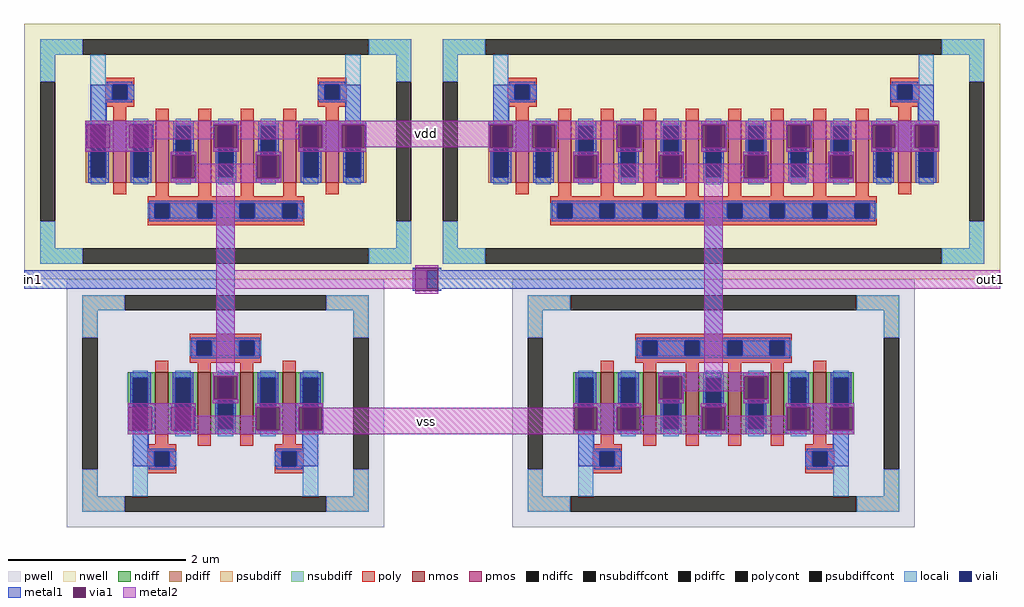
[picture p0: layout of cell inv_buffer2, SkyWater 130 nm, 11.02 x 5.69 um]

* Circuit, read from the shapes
.subckt inv_buffer2 in1 out1 vdd vss
XM1 vss vss vss vss sky130_fd_pr__nfet_01v8 w=0.7 l=0.15 m=4
XM2 inv_simple1_0/out in1 vss vss sky130_fd_pr__nfet_01v8 w=0.7 l=0.15 m=2
XM3 out1 inv_simple1_0/out vss vss sky130_fd_pr__nfet_01v8 w=0.7 l=0.15 m=4
XM4 vdd vdd vdd vdd sky130_fd_pr__pfet_01v8 w=0.7 l=0.15 m=4
XM5 inv_simple1_0/out in1 vdd vdd sky130_fd_pr__pfet_01v8 w=0.7 l=0.15 m=4
XM6 out1 inv_simple1_0/out vdd vdd sky130_fd_pr__pfet_01v8 w=0.7 l=0.15 m=8
.ends

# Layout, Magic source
magic
tech sky130A
magscale 1 2
<< metal1 >>
rect 0 539 42 581
rect 878 534 884 586
rect 936 534 942 586
<< via1 >>
rect 884 534 936 586
<< metal2 >>
rect 772 859 1049 919
rect 884 586 936 592
rect 878 539 884 581
rect 2162 539 2204 581
rect 884 528 936 534
rect 676 210 1240 270
use inv_simple1  inv_simple1_0
transform 1 0 53 0 1 613
box -53 -613 858 525
use inv_simple2  inv_simple2_0
transform 1 0 952 0 1 613
box -42 -613 1252 525
<< labels >>
rlabel metal1 0 539 42 581 0 in1
port 1 n
rlabel metal2 2162 539 2204 581 0 out1
port 2 n
rlabel metal2 880 859 940 919 0 vdd
port 3 n
rlabel metal2 880 210 940 270 1 vss
port 4 n
<< end >>

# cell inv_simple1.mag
magic
tech sky130A
magscale 1 2
<< locali >>
rect 97 306 131 455
rect 673 306 707 455
rect 193 -543 227 -403
rect 577 -543 611 -403
<< metal1 >>
rect 381 -32 423 79
rect -53 -74 423 -32
rect 381 -185 423 -74
<< metal2 >>
rect 85 236 239 306
rect 381 -32 423 166
rect 381 -74 857 -32
rect 381 -263 423 -74
rect 181 -403 335 -333
use sinv_n  sinv_n_0
transform 1 0 402 0 1 -333
box -359 -280 359 280
use sinv_p  sinv_p_0
transform 1 0 403 0 1 236
box -455 -289 455 289
<< labels >>
rlabel metal1 -53 -74 -11 -32 0 in
port 1 n
rlabel metal2 815 -74 857 -32 6 out
port 5 n
rlabel metal2 85 236 239 306 1 vdd
port 6 n
rlabel metal2 181 -403 335 -333 0 vss
port 4 n
<< end >>

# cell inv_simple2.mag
magic
tech sky130A
magscale 1 2
<< locali >>
rect 108 306 142 455
rect 1068 306 1102 455
rect 300 -543 334 -403
rect 876 -543 910 -403
<< metal1 >>
rect 584 -32 626 85
rect -42 -74 626 -32
rect 584 -191 626 -74
<< metal2 >>
rect 584 -32 626 166
rect 584 -74 1252 -32
rect 584 -263 626 -74
use sinv2_n  sinv2_n_0
transform 1 0 605 0 1 -333
box -455 -280 455 280
use sinv2_p  sinv2_p_0
transform 1 0 605 0 1 236
box -647 -289 647 289
<< end >>

# cell sinv2_n: kit device sky130_fd_pr__nfet_01v8, w 0.7 l 0.150 m 1 nf 6 diffcov 100 polycov 100 guard 1 glc 1 grc 1 gtc 1 gbc 1 tbcov 100 rlcov 100 topc 1 botc 1 poverlap 0 doverlap 1 lmin 0.15 wmin 0.42 compatible {sky130_fd_pr__nfet_01v8 sky130_fd_pr__nfet_01v8_lvt sky130_fd_bs_flash__special_sonosfet_star sky130_fd_pr__nfet_g5v0d10v5 sky130_fd_pr__nfet_05v0_nvt sky130_fd_pr__nfet_03v3_nvt} full_metal 1 viasrc 100 viadrn 100 viagate 100 viagb 0 viagr 0 viagl 0 viagt 0

# cell sinv2_p: kit device sky130_fd_pr__pfet_01v8, w 0.7 l 0.15 m 1 nf 10 diffcov 100 polycov 100 guard 1 glc 1 grc 1 gtc 1 gbc 1 tbcov 100 rlcov 100 topc 1 botc 1 poverlap 0 doverlap 1 lmin 0.15 wmin 0.42 compatible {sky130_fd_pr__pfet_01v8 sky130_fd_pr__pfet_01v8_lvt sky130_fd_pr__pfet_01v8_hvt sky130_fd_pr__pfet_g5v0d10v5} full_metal 1 viasrc 100 viadrn 100 viagate 100 viagb 0 viagr 0 viagl 0 viagt 0

# cell sinv_n: kit device sky130_fd_pr__nfet_01v8, w 0.7 l 0.150 m 1 nf 4 diffcov 100 polycov 100 guard 1 glc 1 grc 1 gtc 1 gbc 1 tbcov 100 rlcov 100 topc 1 botc 1 poverlap 0 doverlap 1 lmin 0.15 wmin 0.42 compatible {sky130_fd_pr__nfet_01v8 sky130_fd_pr__nfet_01v8_lvt sky130_fd_bs_flash__special_sonosfet_star sky130_fd_pr__nfet_g5v0d10v5 sky130_fd_pr__nfet_05v0_nvt sky130_fd_pr__nfet_03v3_nvt} full_metal 1 viasrc 100 viadrn 100 viagate 100 viagb 0 viagr 0 viagl 0 viagt 0

# cell sinv_p: kit device sky130_fd_pr__pfet_01v8, w 0.7 l 0.15 m 1 nf 6 diffcov 100 polycov 100 guard 1 glc 1 grc 1 gtc 1 gbc 1 tbcov 100 rlcov 100 topc 1 botc 1 poverlap 0 doverlap 1 lmin 0.15 wmin 0.42 compatible {sky130_fd_pr__pfet_01v8 sky130_fd_pr__pfet_01v8_lvt sky130_fd_pr__pfet_01v8_hvt sky130_fd_pr__pfet_g5v0d10v5} full_metal 1 viasrc 100 viadrn 100 viagate 100 viagb 0 viagr 0 viagl 0 viagt 0
